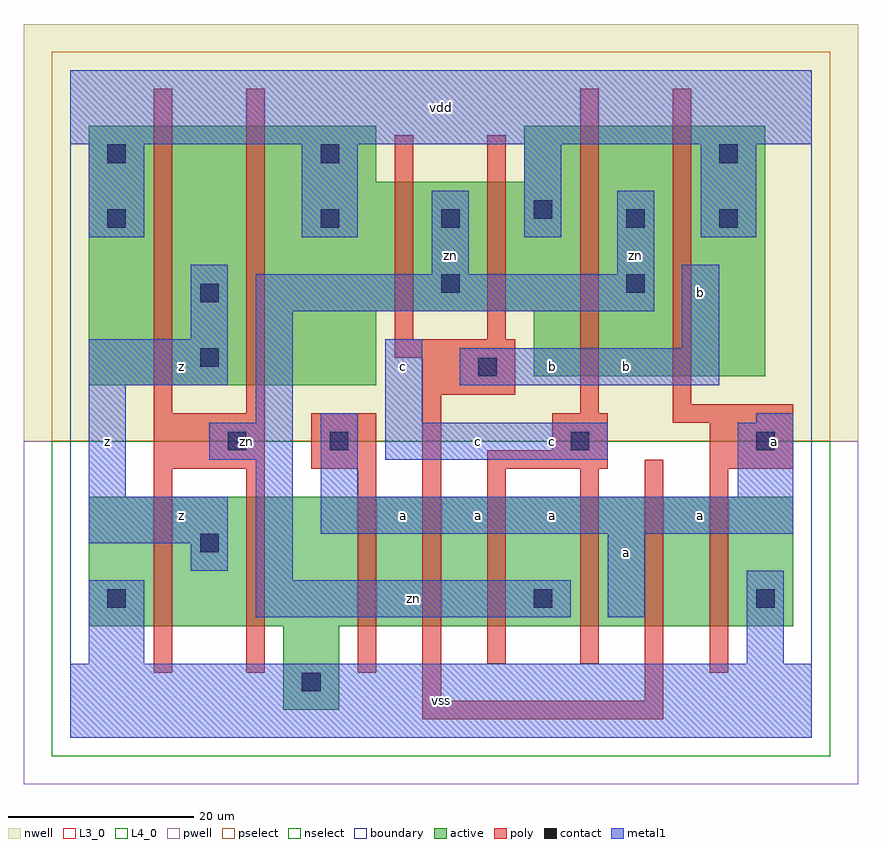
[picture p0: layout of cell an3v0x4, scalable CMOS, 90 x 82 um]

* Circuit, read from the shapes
.subckt an3v0x4 a b c vdd vss z zn
M1 z zn vss VSUBS nfet w=14u l=2u m=2
M2 n1 a vss VSUBS nfet w=14u l=2u
M3 n2 b n1 VSUBS nfet w=14u l=2u
M4 zn c n2 VSUBS nfet w=14u l=2u
M5 n3 c zn VSUBS nfet w=14u l=2u
M6 n4 b n3 VSUBS nfet w=14u l=2u
M7 vss a n4 VSUBS nfet w=14u l=2u
M8 z zn vdd n5 pfet w=28u l=2u m=2
M9 zn b vdd n5 pfet w=14u l=2u m=2
M10 zn c vdd n5 pfet w=27u l=2u
M11 vdd a zn n5 pfet w=27u l=2u
.ends

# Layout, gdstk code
import gdstk
lib = gdstk.Library(unit=1e-6, precision=1e-09)
def R(c, l, rs):  # rectangles x0, y0, x1, y1
    for r in rs: c.add(gdstk.rectangle(r[:2], r[2:], *l))
L3_0 = (3, 0)
L4_0 = (4, 0)
contact = (25, 0)
pwell = (41, 0)
nwell = (42, 0)
active = (43, 0)
pselect = (44, 0)
nselect = (45, 0)
poly = (46, 0)
metal1 = (49, 0)
boundary = (63, 0)

an3v0x4 = lib.new_cell('an3v0x4')
R(an3v0x4, L3_0, [(23,3,29,12), (2,12,78,26)])
R(an3v0x4, L4_0, [(2,38,33,46), (50,39,75,46), (2,46,75,60), (2,60,33,66), (49,60,75,66)])
R(an3v0x4, contact, [(25,5,27,7), (4,14,6,16), (50,14,52,16), (74,14,76,16), (14,20,16,22), (17,31,19,33), (28,31,30,33), (54,31,56,33), (74,31,76,33), (44,39,46,41), (14,40,16,42), (14,47,16,49), (40,48,42,50), (60,48,62,50), (4,55,6,57), (27,55,29,57), (40,55,42,57), (60,55,62,57), (70,55,72,57), (50,56,52,58), (4,62,6,64), (27,62,29,64), (70,62,72,64)])
R(an3v0x4, pwell, [(-5,-5,85,32)])
R(an3v0x4, nwell, [(-5,32,85,77)])
R(an3v0x4, active, [(23,3,29,12), (2,12,78,26), (2,38,33,46), (50,39,75,46), (2,46,75,60), (2,60,33,66), (49,60,75,66)])
R(an3v0x4, pselect, [(-2,32,82,74)])
R(an3v0x4, nselect, [(-2,-2,82,32)])
R(an3v0x4, poly, [(38,2,64,4), (38,4,40,37), (62,4,64,30), (9,7,11,29), (19,7,21,29), (31,7,33,29), (69,7,71,29), (45,8,47,29), (55,8,57,29), (9,29,21,35), (26,29,33,35), (45,29,58,31), (69,29,78,34), (52,31,58,35), (65,34,78,36), (9,35,11,70), (19,35,21,70), (55,35,57,70), (65,36,67,70), (38,37,48,41), (35,41,48,43), (35,43,37,65), (45,43,47,65)])
R(an3v0x4, metal1, [(0,0,80,8), (2,8,8,17), (73,8,77,18), (20,13,54,17), (58,13,62,22), (20,17,24,30), (13,18,17,21), (2,21,17,26), (27,22,78,26), (2,26,6,38), (27,26,31,35), (72,26,78,34), (15,30,24,34), (34,30,58,34), (20,34,24,46), (34,34,38,43), (74,34,78,35), (2,38,17,43), (42,38,70,42), (66,42,70,51), (13,43,17,51), (20,46,63,50), (39,50,43,59), (59,50,63,59), (2,54,8,64), (25,54,31,64), (49,54,53,64), (68,54,74,64), (0,64,80,72)])
R(an3v0x4, boundary, [(0,0,80,72)])
an3v0x4.add(gdstk.Label('zn', (19,32), layer=49, texttype=0))
an3v0x4.add(gdstk.Label('zn', (41,52), layer=49, texttype=0))
an3v0x4.add(gdstk.Label('zn', (37,15), layer=49, texttype=0))
an3v0x4.add(gdstk.Label('zn', (61,52), layer=49, texttype=0))
an3v0x4.add(gdstk.Label('z', (12,24), layer=49, texttype=0))
an3v0x4.add(gdstk.Label('z', (4,32), layer=49, texttype=0))
an3v0x4.add(gdstk.Label('z', (12,40), layer=49, texttype=0))
an3v0x4.add(gdstk.Label('a', (36,24), layer=49, texttype=0))
an3v0x4.add(gdstk.Label('c', (36,40), layer=49, texttype=0))
an3v0x4.add(gdstk.Label('vss', (40,4), layer=49, texttype=0))
an3v0x4.add(gdstk.Label('a', (44,24), layer=49, texttype=0))
an3v0x4.add(gdstk.Label('c', (44,32), layer=49, texttype=0))
an3v0x4.add(gdstk.Label('c', (52,32), layer=49, texttype=0))
an3v0x4.add(gdstk.Label('a', (52,24), layer=49, texttype=0))
an3v0x4.add(gdstk.Label('b', (52,40), layer=49, texttype=0))
an3v0x4.add(gdstk.Label('vdd', (40,68), layer=49, texttype=0))
an3v0x4.add(gdstk.Label('a', (60,20), layer=49, texttype=0))
an3v0x4.add(gdstk.Label('a', (76,32), layer=49, texttype=0))
an3v0x4.add(gdstk.Label('a', (68,24), layer=49, texttype=0))
an3v0x4.add(gdstk.Label('b', (60,40), layer=49, texttype=0))
an3v0x4.add(gdstk.Label('b', (68,48), layer=49, texttype=0))

lib.write_gds('an3v0x4.gds')
